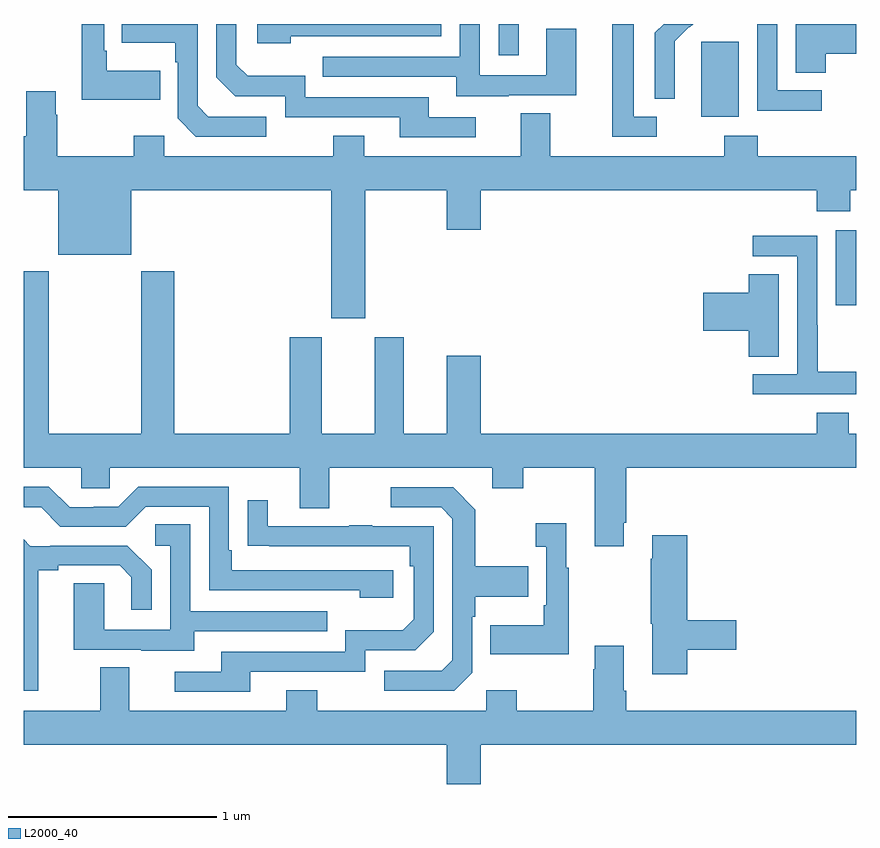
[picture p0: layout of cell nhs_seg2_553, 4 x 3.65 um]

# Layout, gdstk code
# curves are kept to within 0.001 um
import gdstk
lib = gdstk.Library(unit=1e-6, precision=1e-09)
def R(c, l, rs):  # rectangles x0, y0, x1, y1
    for r in rs: c.add(gdstk.rectangle(r[:2], r[2:], *l))
def P(c, l, *ps):  # polygons
    for p in ps: c.add(gdstk.Polygon(p, *l))
L2000_40 = (2000, 40)

nhs_seg2_553 = lib.new_cell('nhs_seg2_553')
R(nhs_seg2_553, L2000_40, [(142.901,616.449,143,616.81), (142.256,617.354,142.435,617.715), (141.282,617.649,141.379,617.8)])
P(nhs_seg2_553, L2000_40, [(141.331,617.457),(141.655,617.457),(141.655,617.777),(141.51,617.777),(141.51,617.553),(141.192,617.553),(141.192,617.8),(141.096,617.8),(141.096,617.643),(140.437,617.643),(140.437,617.547),(141.077,617.547),(141.077,617.453),(141.331,617.453)],
  [(140.164,617.355),(139.887,617.355),(139.836,617.406),(139.836,617.8),(139.471,617.8),(139.471,617.711),(139.728,617.711),(139.728,617.615),(139.74,617.615),(139.74,617.346),(139.827,617.259),(140.164,617.259)],
  [(139.655,617.575),(139.399,617.575),(139.399,617.671),(139.386,617.671),(139.386,617.8),(139.278,617.8),(139.278,617.435),(139.655,617.435)],
  [(142.834,617.481),(142.62,617.481),(142.62,617.8),(142.524,617.8),(142.524,617.383),(142.834,617.383)],
  [(142.128,617.594),(142.127,617.594),(142.127,617.717),(142.197,617.787),(142.2,617.784),(142.216,617.8),(142.074,617.8),(142.032,617.758),(142.032,617.44),(142.128,617.44)],
  [(140.282,617.742),(141.006,617.742),(141.006,617.8),(140.121,617.8),(140.121,617.708),(140.282,617.708)],
  [(142.042,617.355),(141.931,617.355),(141.931,617.8),(141.827,617.8),(141.827,617.259),(142.042,617.259)],
  [(141.172,617.352),(140.947,617.352),(140.947,617.448),(140.352,617.448),(140.352,617.551),(140.075,617.551),(140.022,617.604),(140.022,617.8),(139.926,617.8),(139.926,617.544),(140.016,617.454),(140.256,617.454),(140.256,617.352),(140.807,617.352),(140.807,617.256),(141.172,617.256)],
  [(142.853,617.657),(143,617.657),(143,617.8),(142.709,617.8),(142.709,617.566),(142.853,617.566)],
  [(140.641,617),(141.032,617),(141.032,616.812),(141.196,616.812),(141.196,617),(142.811,617),(142.811,616.901),(142.971,616.901),(142.971,617),(143,617),(143,617.164),(142.526,617.164),(142.526,617.263),(142.366,617.263),(142.366,617.164),(141.529,617.164),(141.529,617.372),(141.389,617.372),(141.389,617.164),(140.635,617.164),(140.635,617.263),(140.488,617.263),(140.488,617.164),(139.674,617.164),(139.674,617.263),(139.528,617.263),(139.528,617.164),(139.161,617.164),(139.161,617.363),(139.153,617.363),(139.153,617.476),(139.013,617.476),(139.013,617.26),(139.001,617.26),(139.001,617.164),(139,617.164),(139,617),(139.166,617),(139.166,616.691),(139.516,616.691),(139.516,617),(140.477,617),(140.477,616.386),(140.641,616.386)],
  [(143,616.129),(142.815,616.129),(142.815,616.352),(142.812,616.352),(142.812,616.782),(142.503,616.782),(142.503,616.683),(142.716,616.683),(142.716,616.116),(142.503,616.116),(142.503,616.02),(143,616.02)],
  [(140.327,615.474),(140.467,615.474),(140.467,615.668),(141.251,615.668),(141.251,615.569),(141.399,615.569),(141.399,615.668),(141.743,615.668),(141.743,615.291),(141.883,615.291),(141.883,615.403),(141.896,615.403),(141.896,615.668),(143,615.668),(143,615.832),(142.963,615.832),(142.963,615.931),(142.811,615.931),(142.811,615.832),(141.196,615.832),(141.196,616.207),(141.032,616.207),(141.032,615.832),(140.827,615.832),(140.827,616.294),(140.687,616.294),(140.687,615.832),(140.431,615.832),(140.431,616.294),(140.279,616.294),(140.279,615.832),(139.724,615.832),(139.724,616.612),(139.564,616.612),(139.564,615.832),(139.119,615.832),(139.119,616.612),(139,616.612),(139,615.668),(139.275,615.668),(139.275,615.57),(139.413,615.57),(139.413,615.668),(140.327,615.668)],
  [(142.627,616.598),(142.484,616.598),(142.484,616.508),(142.266,616.508),(142.266,616.325),(142.484,616.325),(142.484,616.201),(142.627,616.201)],
  [(140.776,615.174),(139.999,615.174),(139.999,615.271),(139.986,615.271),(139.986,615.576),(139.551,615.576),(139.455,615.48),(139.337,615.48),(139.337,615.477),(139.221,615.477),(139.121,615.577),(139,615.577),(139,615.477),(139.083,615.477),(139.176,615.384),(139.491,615.384),(139.587,615.48),(139.89,615.48),(139.89,615.078),(140.615,615.078),(140.615,615.044),(140.776,615.044)],
  [(141.156,614.682),(141.156,614.951),(141.169,614.951),(141.169,615.047),(141.425,615.047),(141.425,615.195),(141.169,615.195),(141.169,615.467),(141.063,615.573),(140.763,615.573),(140.763,615.477),(141.006,615.477),(141.06,615.423),(141.06,614.742),(141.009,614.691),(140.733,614.691),(140.733,614.595),(141.069,614.595)],
  [(140.089,614.688),(140.64,614.688),(140.64,614.79),(140.88,614.79),(140.97,614.88),(140.97,615.387),(140.675,615.387),(140.675,615.392),(140.563,615.392),(140.563,615.387),(140.173,615.387),(140.173,615.511),(140.077,615.511),(140.077,615.292),(140.854,615.291),(140.854,615.194),(140.874,615.194),(140.874,614.94),(140.821,614.887),(140.544,614.887),(140.544,614.784),(139.949,614.784),(139.949,614.688),(139.725,614.688),(139.725,614.592),(140.089,614.592)],
  [(141.619,615.187),(141.607,615.187),(141.607,615.4),(141.459,615.4),(141.459,615.287),(141.51,615.287),(141.51,615.007),(141.498,615.007),(141.498,614.911),(141.241,614.911),(141.241,614.771),(141.619,614.771)],
  [(139.819,614.883),(140.459,614.883),(140.459,614.979),(139.8,614.979),(139.8,615.395),(139.632,615.395),(139.632,615.294),(139.704,615.294),(139.704,614.889),(139.386,614.889),(139.386,615.113),(139.241,615.113),(139.241,614.793),(139.565,614.793),(139.565,614.789),(139.819,614.789)],
  [(142.187,614.794),(142.423,614.794),(142.423,614.936),(142.187,614.936),(142.187,615.343),(142.019,615.343),(142.019,615.23),(142.012,615.23),(142.012,614.919),(142.019,614.919),(142.019,614.676),(142.187,614.676)],
  [(139.069,615.176),(139.165,615.176),(139.165,615.198),(139.46,615.198),(139.517,615.141),(139.517,614.985),(139.614,614.985),(139.614,615.178),(139.498,615.294),(139.126,615.294),(139.126,615.291),(139.032,615.291),(139,615.323),(139,614.595),(139.069,614.595)],
  [(141.196,614.336),(143,614.336),(143,614.5),(141.896,614.5),(141.896,614.596),(141.883,614.596),(141.883,614.812),(141.743,614.812),(141.743,614.699),(141.736,614.699),(141.736,614.5),(141.369,614.5),(141.369,614.599),(141.222,614.599),(141.222,614.5),(140.409,614.5),(140.409,614.599),(140.261,614.599),(140.261,614.5),(139.507,614.5),(139.507,614.708),(139.367,614.708),(139.367,614.5),(139,614.5),(139,614.336),(141.032,614.336),(141.032,614.148),(141.196,614.148)])

lib.write_gds('nhs_seg2_553.gds')
